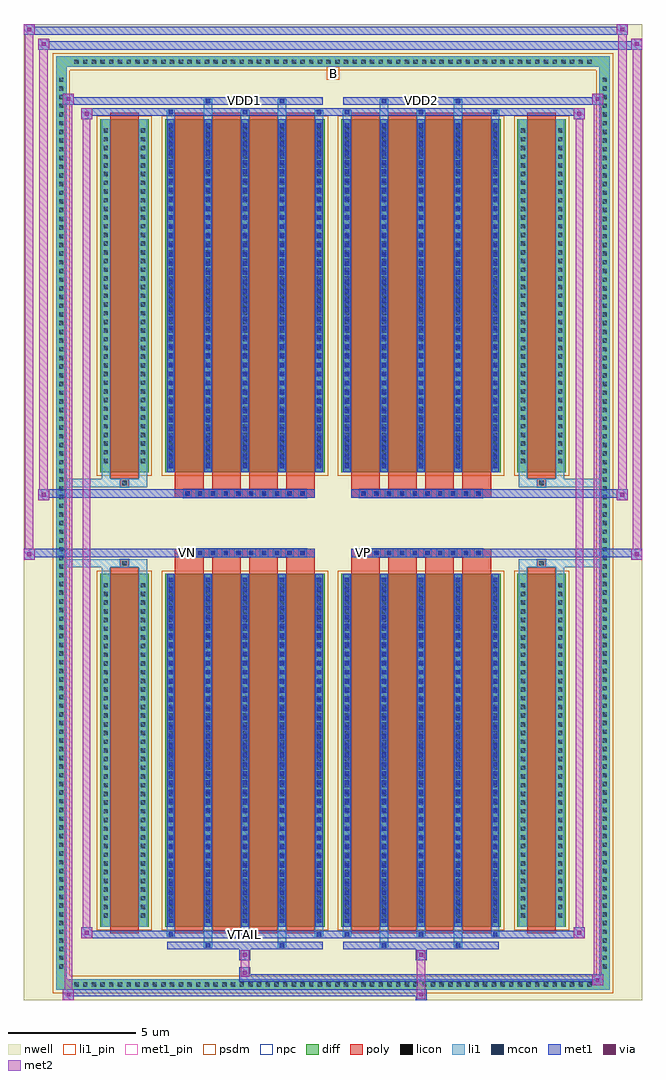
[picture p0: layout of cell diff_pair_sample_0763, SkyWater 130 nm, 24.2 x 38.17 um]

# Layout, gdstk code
import gdstk
lib = gdstk.Library(unit=1e-6, precision=5e-09)
def R(c, l, rs):  # rectangles x0, y0, x1, y1
    for r in rs: c.add(gdstk.rectangle(r[:2], r[2:], *l))
def A(c, l, x, y, w, h, nx, ny, dx, dy):  # array of equal rectangles
    R(c, l, [(x+i*dx, y+j*dy, x+i*dx+w, y+j*dy+h) for i in range(nx) for j in range(ny)])
def P(c, l, *ps):  # polygons
    for p in ps: c.add(gdstk.Polygon(p, *l))
nwell = (64, 20)
diff = (65, 20)
poly = (66, 20)
licon = (66, 44)
li1_pin = (67, 16)
li1 = (67, 20)
mcon = (67, 44)
met1_pin = (68, 16)
met1 = (68, 20)
via = (68, 44)
met2 = (69, 20)
psdm = (94, 20)
npc = (95, 20)

diff_pair_sample_0763 = lib.new_cell('diff_pair_sample_0763')
R(diff_pair_sample_0763, nwell, [(-12.1,-18.65,12.1,19.52), (-9.42,-16.84,-0.01,-0.8), (0.01,-16.84,9.42,-0.8), (-9.42,0.8,-0.01,16.84), (0.01,0.8,9.42,16.84)])
A(diff_pair_sample_0763, diff, -10.235, -18.25, 0.41, 0.41, 60, 2, 0.34, 36.09)
A(diff_pair_sample_0763, diff, -10.83, -17.545, 0.41, 0.41, 1, 103, 0, 0.34)
A(diff_pair_sample_0763, diff, 10.42, -17.545, 0.41, 0.41, 1, 103, 0, 0.34)
R(diff_pair_sample_0763, diff, [(-10.235,-18.25,10.235,-17.84), (-10.83,-17.545,-10.42,17.545), (10.42,-17.545,10.83,17.545), (-9.11,-15.795,-7.21,-1.985), (-6.57,-15.795,-0.32,-1.985), (0.32,-15.795,6.57,-1.985), (7.21,-15.795,9.11,-1.985), (-9.11,1.985,-7.21,15.795), (-6.57,1.985,-0.32,15.795), (0.32,1.985,6.57,15.795), (7.21,1.985,9.11,15.795), (-10.235,17.84,10.235,18.25)])
P(diff_pair_sample_0763, diff, [(10.83,18.25),(-10.83,18.25),(-10.83,-17.84),(-10.42,-17.84),(-10.42,17.84),(10.42,17.84),(10.42,-17.84),(-10.42,-17.84),(-10.83,-17.84),(-10.83,-18.25),(10.83,-18.25)])
A(diff_pair_sample_0763, poly, -6.18, -16.045, 1.12, 14.31, 4, 2, 1.45, 17.78)
A(diff_pair_sample_0763, poly, 0.71, -16.045, 1.12, 14.31, 4, 2, 1.45, 17.78)
A(diff_pair_sample_0763, poly, -6.18, -1.735, 1.12, 0.405, 4, 2, 1.45, 3.065)
A(diff_pair_sample_0763, poly, 0.71, -1.735, 1.12, 0.405, 4, 2, 1.45, 3.065)
A(diff_pair_sample_0763, poly, -5.86, -1.33, 0.33, 0.33, 10, 2, 0.5, 2.33)
A(diff_pair_sample_0763, poly, 1.03, -1.33, 0.33, 0.33, 10, 2, 0.5, 2.33)
R(diff_pair_sample_0763, poly, [(-8.72,-16.045,-7.6,-1.735), (7.6,-16.045,8.72,-1.735), (-8.325,-1.735,-7.995,-1.405), (-8.325,-1.735,-7.995,-1.405), (7.995,-1.735,8.325,-1.405), (7.995,-1.735,8.325,-1.405), (-6.18,-1.33,-0.71,-1), (0.71,-1.33,6.18,-1), (-6.18,1,-0.71,1.33), (0.71,1,6.18,1.33), (-8.325,1.405,-7.995,1.735), (-8.325,1.405,-7.995,1.735), (7.995,1.405,8.325,1.735), (7.995,1.405,8.325,1.735), (-8.72,1.735,-7.6,16.045), (7.6,1.735,8.72,16.045)])
A(diff_pair_sample_0763, licon, -10.115, -18.13, 0.17, 0.17, 60, 2, 0.34, 36.09)
A(diff_pair_sample_0763, licon, -10.71, -17.425, 0.17, 0.17, 1, 103, 0, 0.34)
A(diff_pair_sample_0763, licon, 10.54, -17.425, 0.17, 0.17, 1, 103, 0, 0.34)
A(diff_pair_sample_0763, licon, -8.97, -15.435, 0.17, 0.17, 1, 39, 0, 0.34)
A(diff_pair_sample_0763, licon, -7.52, -15.435, 0.17, 0.17, 1, 39, 0, 0.34)
A(diff_pair_sample_0763, licon, -6.43, -15.435, 0.17, 0.17, 5, 39, 1.45, 0.34)
A(diff_pair_sample_0763, licon, 0.46, -15.435, 0.17, 0.17, 5, 39, 1.45, 0.34)
A(diff_pair_sample_0763, licon, 7.35, -15.435, 0.17, 0.17, 1, 39, 0, 0.34)
A(diff_pair_sample_0763, licon, 8.8, -15.435, 0.17, 0.17, 1, 39, 0, 0.34)
A(diff_pair_sample_0763, licon, -5.78, -1.25, 0.17, 0.17, 10, 2, 0.5, 2.33)
A(diff_pair_sample_0763, licon, 1.11, -1.25, 0.17, 0.17, 10, 2, 0.5, 2.33)
A(diff_pair_sample_0763, licon, -8.97, 2.345, 0.17, 0.17, 1, 39, 0, 0.34)
A(diff_pair_sample_0763, licon, -7.52, 2.345, 0.17, 0.17, 1, 39, 0, 0.34)
A(diff_pair_sample_0763, licon, -6.43, 2.345, 0.17, 0.17, 5, 39, 1.45, 0.34)
A(diff_pair_sample_0763, licon, 0.46, 2.345, 0.17, 0.17, 5, 39, 1.45, 0.34)
A(diff_pair_sample_0763, licon, 7.35, 2.345, 0.17, 0.17, 1, 39, 0, 0.34)
A(diff_pair_sample_0763, licon, 8.8, 2.345, 0.17, 0.17, 1, 39, 0, 0.34)
R(diff_pair_sample_0763, licon, [(-8.245,-1.655,-8.075,-1.485), (8.075,-1.655,8.245,-1.485), (-8.245,1.485,-8.075,1.655), (8.075,1.485,8.245,1.655)])
R(diff_pair_sample_0763, li1_pin, [(-0.25,17.34,0.25,17.84)])
A(diff_pair_sample_0763, li1, -10.195, -18.21, 0.33, 0.33, 60, 2, 0.34, 36.09)
A(diff_pair_sample_0763, li1, -10.79, -17.505, 0.33, 0.33, 1, 103, 0, 0.34)
A(diff_pair_sample_0763, li1, 10.46, -17.505, 0.33, 0.33, 1, 103, 0, 0.34)
A(diff_pair_sample_0763, li1, -6.51, -16.17, 0.33, 0.375, 3, 2, 2.9, 31.965)
A(diff_pair_sample_0763, li1, -6.43, -16.17, 0.17, 0.17, 3, 2, 2.9, 32.17)
A(diff_pair_sample_0763, li1, 0.38, -16.17, 0.33, 0.375, 3, 2, 2.9, 31.965)
A(diff_pair_sample_0763, li1, 0.46, -16.17, 0.17, 0.17, 3, 2, 2.9, 32.17)
A(diff_pair_sample_0763, li1, -6.51, -15.795, 0.33, 13.81, 5, 2, 1.45, 17.78)
A(diff_pair_sample_0763, li1, 0.38, -15.795, 0.33, 13.81, 5, 2, 1.45, 17.78)
A(diff_pair_sample_0763, li1, -6.43, -15.635, 0.17, 0.17, 5, 38, 1.45, 0.36)
A(diff_pair_sample_0763, li1, -6.43, -15.635, 0.17, 13.49, 5, 2, 1.45, 17.78)
A(diff_pair_sample_0763, li1, 0.46, -15.635, 0.17, 0.17, 5, 38, 1.45, 0.36)
A(diff_pair_sample_0763, li1, 0.46, -15.635, 0.17, 13.49, 5, 2, 1.45, 17.78)
A(diff_pair_sample_0763, li1, -9.05, -15.515, 0.33, 0.33, 1, 39, 0, 0.34)
A(diff_pair_sample_0763, li1, -7.6, -15.515, 0.33, 0.33, 1, 39, 0, 0.34)
A(diff_pair_sample_0763, li1, -6.51, -15.515, 0.33, 0.33, 5, 39, 1.45, 0.34)
A(diff_pair_sample_0763, li1, 0.38, -15.515, 0.33, 0.33, 5, 39, 1.45, 0.34)
A(diff_pair_sample_0763, li1, 7.27, -15.515, 0.33, 0.33, 1, 39, 0, 0.34)
A(diff_pair_sample_0763, li1, 8.72, -15.515, 0.33, 0.33, 1, 39, 0, 0.34)
A(diff_pair_sample_0763, li1, -5.86, -1.33, 0.33, 0.33, 10, 2, 0.5, 2.33)
A(diff_pair_sample_0763, li1, 1.03, -1.33, 0.33, 0.33, 10, 2, 0.5, 2.33)
A(diff_pair_sample_0763, li1, -6.43, 2.145, 0.17, 0.17, 5, 38, 1.45, 0.36)
A(diff_pair_sample_0763, li1, 0.46, 2.145, 0.17, 0.17, 5, 38, 1.45, 0.36)
A(diff_pair_sample_0763, li1, -9.05, 2.265, 0.33, 0.33, 1, 39, 0, 0.34)
A(diff_pair_sample_0763, li1, -7.6, 2.265, 0.33, 0.33, 1, 39, 0, 0.34)
A(diff_pair_sample_0763, li1, -6.51, 2.265, 0.33, 0.33, 5, 39, 1.45, 0.34)
A(diff_pair_sample_0763, li1, 0.38, 2.265, 0.33, 0.33, 5, 39, 1.45, 0.34)
A(diff_pair_sample_0763, li1, 7.27, 2.265, 0.33, 0.33, 1, 39, 0, 0.34)
A(diff_pair_sample_0763, li1, 8.72, 2.265, 0.33, 0.33, 1, 39, 0, 0.34)
R(diff_pair_sample_0763, li1, [(-10.83,-18.25,-10.42,-17.84), (-10.83,-18.25,-10.42,-17.84), (-10.42,-18.25,10.42,-17.84), (10.42,-18.25,10.83,-17.84), (10.42,-18.25,10.83,-17.84), (-10.83,-17.84,-10.42,17.84), (10.42,-17.84,10.83,17.84), (-5.06,-16.6,-4.73,-15.795), (-4.98,-16.6,-4.81,-16.43), (-2.16,-16.6,-1.83,-15.795), (-2.08,-16.6,-1.91,-16.43), (1.83,-16.6,2.16,-15.795), (1.91,-16.6,2.08,-16.43), (4.73,-16.6,5.06,-15.795), (4.81,-16.6,4.98,-16.43), (-9.05,-15.795,-8.72,-1.985), (-7.6,-15.795,-7.27,-1.985), (7.27,-15.795,7.6,-1.985), (8.72,-15.795,9.05,-1.985), (-9.05,-1.985,-8.72,-1.405), (-7.6,-1.985,-7.27,-1.405), (7.27,-1.985,7.6,-1.405), (8.72,-1.985,9.05,-1.405), (-10.83,-1.735,-8.325,-1.405), (-9.05,-1.735,-8.325,-1.405), (-8.325,-1.735,-7.995,-1.405), (-7.995,-1.735,-7.27,-1.405), (7.27,-1.735,7.995,-1.405), (7.995,-1.735,8.325,-1.405), (7.995,-1.735,10.83,-1.405), (8.325,-1.735,9.05,-1.405), (-10.83,1.405,-8.325,1.735), (-9.05,1.405,-8.325,1.735), (-9.05,1.405,-8.72,1.985), (-8.325,1.405,-7.995,1.735), (-7.995,1.405,-7.27,1.735), (-7.6,1.405,-7.27,1.985), (7.27,1.405,7.995,1.735), (7.27,1.405,7.6,1.985), (7.995,1.405,8.325,1.735), (7.995,1.405,10.83,1.735), (8.325,1.405,9.05,1.735), (8.72,1.405,9.05,1.985), (-9.05,1.985,-8.72,15.795), (-7.6,1.985,-7.27,15.795), (7.27,1.985,7.6,15.795), (8.72,1.985,9.05,15.795), (-5.06,15.795,-4.73,16.6), (-2.16,15.795,-1.83,16.6), (1.83,15.795,2.16,16.6), (4.73,15.795,5.06,16.6), (-4.98,16.43,-4.81,16.6), (-2.08,16.43,-1.91,16.6), (1.91,16.43,2.08,16.6), (4.81,16.43,4.98,16.6), (-10.83,17.84,-10.42,18.25), (-10.83,17.84,-10.42,18.25), (-10.42,17.84,10.42,18.25), (10.42,17.84,10.83,18.25), (10.42,17.84,10.83,18.25)])
A(diff_pair_sample_0763, mcon, -6.43, -16.17, 0.17, 0.17, 3, 2, 2.9, 32.17)
A(diff_pair_sample_0763, mcon, 0.46, -16.17, 0.17, 0.17, 3, 2, 2.9, 32.17)
A(diff_pair_sample_0763, mcon, -6.43, -15.635, 0.17, 0.17, 5, 38, 1.45, 0.36)
A(diff_pair_sample_0763, mcon, 0.46, -15.635, 0.17, 0.17, 5, 38, 1.45, 0.36)
A(diff_pair_sample_0763, mcon, -5.78, -1.25, 0.17, 0.17, 10, 2, 0.5, 2.33)
A(diff_pair_sample_0763, mcon, 1.11, -1.25, 0.17, 0.17, 10, 2, 0.5, 2.33)
A(diff_pair_sample_0763, mcon, -6.43, 2.145, 0.17, 0.17, 5, 38, 1.45, 0.36)
A(diff_pair_sample_0763, mcon, 0.46, 2.145, 0.17, 0.17, 5, 38, 1.45, 0.36)
R(diff_pair_sample_0763, mcon, [(-4.98,-16.6,-4.81,-16.43), (-2.08,-16.6,-1.91,-16.43), (1.91,-16.6,2.08,-16.43), (4.81,-16.6,4.98,-16.43), (-4.98,16.43,-4.81,16.6), (-2.08,16.43,-1.91,16.6), (1.91,16.43,2.08,16.6), (4.81,16.43,4.98,16.6)])
R(diff_pair_sample_0763, met1_pin, [(-3.58,-16.21,-3.31,-15.94), (-5.83,-1.29,-5.56,-1.02), (1.06,-1.29,1.33,-1.02), (-3.58,16.39,-3.31,16.66), (3.31,16.39,3.58,16.66)])
A(diff_pair_sample_0763, met1, -6.49, -16.23, 0.29, 0.29, 3, 2, 2.9, 32.17)
A(diff_pair_sample_0763, met1, 0.4, -16.23, 0.29, 0.29, 3, 2, 2.9, 32.17)
A(diff_pair_sample_0763, met1, -6.49, -15.795, 0.29, 13.81, 5, 2, 1.45, 17.78)
A(diff_pair_sample_0763, met1, 0.4, -15.795, 0.29, 13.81, 5, 2, 1.45, 17.78)
A(diff_pair_sample_0763, met1, -6.49, -15.695, 0.29, 0.29, 5, 38, 1.45, 0.36)
A(diff_pair_sample_0763, met1, 0.4, -15.695, 0.29, 0.29, 5, 38, 1.45, 0.36)
A(diff_pair_sample_0763, met1, -5.84, -1.31, 0.29, 0.29, 10, 2, 0.5, 2.33)
A(diff_pair_sample_0763, met1, 1.05, -1.31, 0.29, 0.29, 10, 2, 0.5, 2.33)
A(diff_pair_sample_0763, met1, -6.49, 2.085, 0.29, 0.29, 5, 38, 1.45, 0.36)
A(diff_pair_sample_0763, met1, 0.4, 2.085, 0.29, 0.29, 5, 38, 1.45, 0.36)
R(diff_pair_sample_0763, met1, [(-10.56,-18.65,-10.13,-18.22), (3.23,-18.65,3.66,-18.22), (-10.56,-18.51,3.66,-18.22), (10.13,-18.08,10.56,-17.65), (-3.66,-17.94,10.56,-17.65), (-3.66,-17.8,-3.23,-17.37), (-3.66,-17.09,-3.23,-16.66), (3.23,-17.09,3.66,-16.66), (-6.49,-16.66,-0.4,-16.37), (-5.04,-16.66,-4.75,-16.37), (-2.14,-16.66,-1.85,-16.37), (0.4,-16.66,6.49,-16.37), (1.85,-16.66,2.14,-16.37), (4.75,-16.66,5.04,-16.37), (-9.85,-16.23,-9.42,-15.8), (-9.85,-16.23,-6.49,-15.94), (-6.49,-16.23,-0.4,-15.94), (-0.4,-16.23,0.4,-15.94), (0.4,-16.23,6.49,-15.94), (6.49,-16.23,9.85,-15.94), (9.42,-16.23,9.85,-15.8), (-12.1,-1.43,-11.67,-1), (11.67,-1.43,12.1,-1), (-12.1,-1.33,-0.71,-1), (-6.18,-1.33,-0.71,-1), (0.71,-1.33,6.18,-1), (0.71,-1.33,12.1,-1), (-11.53,0.9,-11.1,1.33), (11.1,0.9,11.53,1.33), (-11.53,1,-6.18,1.33), (-6.18,1,-0.71,1.33), (0.71,1,6.18,1.33), (6.18,1,11.53,1.33), (-9.85,15.8,-9.42,16.23), (9.42,15.8,9.85,16.23), (-9.85,15.94,-6.49,16.23), (-6.49,15.94,-0.4,16.23), (-0.4,15.94,0.4,16.23), (0.4,15.94,6.49,16.23), (6.49,15.94,9.85,16.23), (-10.56,16.37,-10.13,16.8), (-10.56,16.37,-6.49,16.66), (-6.49,16.37,-0.4,16.66), (-5.04,16.37,-4.75,16.66), (-2.14,16.37,-1.85,16.66), (0.4,16.37,6.49,16.66), (1.85,16.37,2.14,16.66), (4.75,16.37,5.04,16.66), (6.49,16.37,10.56,16.66), (10.13,16.37,10.56,16.8), (-11.53,18.52,-11.1,18.95), (-11.53,18.52,-9.42,18.85), (-9.42,18.52,9.42,18.85), (9.42,18.52,12.1,18.85), (11.67,18.52,12.1,18.95), (-12.1,19.09,-11.67,19.52), (-12.1,19.09,-9.42,19.42), (-9.42,19.09,9.42,19.42), (9.42,19.09,11.53,19.42), (11.1,19.09,11.53,19.52)])
R(diff_pair_sample_0763, via, [(-10.42,-18.51,-10.27,-18.36), (3.37,-18.51,3.52,-18.36), (10.27,-17.94,10.42,-17.79), (-3.52,-17.66,-3.37,-17.51), (-3.52,-16.95,-3.37,-16.8), (3.37,-16.95,3.52,-16.8), (-9.71,-16.09,-9.56,-15.94), (9.56,-16.09,9.71,-15.94), (-11.96,-1.29,-11.81,-1.14), (11.81,-1.29,11.96,-1.14), (-11.39,1.04,-11.24,1.19), (11.24,1.04,11.39,1.19), (-9.71,15.94,-9.56,16.09), (9.56,15.94,9.71,16.09), (-10.42,16.51,-10.27,16.66), (10.27,16.51,10.42,16.66), (-11.39,18.66,-11.24,18.81), (11.81,18.66,11.96,18.81), (-11.96,19.23,-11.81,19.38), (11.24,19.23,11.39,19.38)])
R(diff_pair_sample_0763, met2, [(-10.56,-18.65,-10.13,-18.22), (-10.49,-18.65,-10.2,16.8), (-10.2,-18.65,-10.13,-18.22), (-10.51,-18.6,-10.18,-18.27), (3.28,-18.6,3.61,-18.27), (3.28,-18.27,3.61,-17.04), (10.13,-18.08,10.56,-17.65), (10.2,-18.08,10.49,16.8), (10.49,-18.08,10.56,-17.65), (10.18,-18.03,10.51,-17.7), (-3.61,-17.75,-3.28,-17.42), (-3.61,-17.42,-3.28,-17.04), (-3.61,-17.04,-3.28,-16.71), (3.28,-17.04,3.61,-16.71), (-9.85,-16.23,-9.42,-15.8), (-9.78,-16.23,-9.49,16.23), (-9.49,-16.23,-9.42,-15.8), (9.42,-16.23,9.85,-15.8), (9.49,-16.23,9.78,16.23), (9.78,-16.23,9.85,-15.8), (-9.8,-16.18,-9.47,-15.85), (9.47,-16.18,9.8,-15.85), (-12.1,-1.43,-11.67,-1), (-12.05,-1.43,-11.72,19.52), (-11.72,-1.43,-11.67,-1), (11.67,-1.43,12.1,-1), (11.72,-1.43,12.05,18.95), (12.05,-1.43,12.1,-1), (-12.05,-1.38,-11.72,-1.05), (11.72,-1.38,12.05,-1.05), (-11.53,0.9,-11.1,1.33), (-11.48,0.9,-11.15,18.95), (-11.15,0.9,-11.1,1.33), (11.1,0.9,11.53,1.33), (11.15,0.9,11.48,19.52), (11.48,0.9,11.53,1.33), (-11.48,0.95,-11.15,1.28), (11.15,0.95,11.48,1.28), (-9.85,15.8,-9.42,16.23), (-9.49,15.8,-9.42,16.23), (9.42,15.8,9.85,16.23), (9.78,15.8,9.85,16.23), (-9.8,15.85,-9.47,16.18), (9.47,15.85,9.8,16.18), (-10.56,16.37,-10.13,16.8), (-10.2,16.37,-10.13,16.8), (10.13,16.37,10.56,16.8), (10.49,16.37,10.56,16.8), (-10.51,16.42,-10.18,16.75), (10.18,16.42,10.51,16.75), (-11.53,18.52,-11.1,18.95), (-11.15,18.52,-11.1,18.95), (11.67,18.52,12.1,18.95), (12.05,18.52,12.1,18.95), (-11.48,18.57,-11.15,18.9), (11.72,18.57,12.05,18.9), (-12.1,19.09,-11.67,19.52), (-11.72,19.09,-11.67,19.52), (11.1,19.09,11.53,19.52), (11.48,19.09,11.53,19.52), (-12.05,19.14,-11.72,19.47), (11.15,19.14,11.48,19.47)])
R(diff_pair_sample_0763, psdm, [(-9.24,-15.925,-7.08,-1.855), (-6.7,-15.925,-0.19,-1.855), (0.19,-15.925,6.7,-1.855), (7.08,-15.925,9.24,-1.855), (-9.24,1.855,-7.08,15.925), (-6.7,1.855,-0.19,15.925), (0.19,1.855,6.7,15.925), (7.08,1.855,9.24,15.925)])
P(diff_pair_sample_0763, psdm, [(10.96,18.38),(-10.96,18.38),(-10.96,-17.71),(-10.29,-17.71),(-10.29,17.71),(10.29,17.71),(10.29,-17.71),(-10.29,-17.71),(-10.96,-17.71),(-10.96,-18.38),(10.96,-18.38)])
A(diff_pair_sample_0763, npc, -5.88, -1.35, 0.37, 0.37, 10, 2, 0.5, 2.33)
A(diff_pair_sample_0763, npc, 1.01, -1.35, 0.37, 0.37, 10, 2, 0.5, 2.33)
R(diff_pair_sample_0763, npc, [(-8.345,-1.755,-7.975,-1.385), (7.975,-1.755,8.345,-1.385), (-5.88,-1.35,-5.01,-0.98), (-5.88,-1.35,-5.01,-0.98), (-5.38,-1.35,-4.51,-0.98), (-5.38,-1.35,-4.51,-0.98), (-4.88,-1.35,-4.01,-0.98), (-4.88,-1.35,-4.01,-0.98), (-4.38,-1.35,-3.51,-0.98), (-4.38,-1.35,-3.51,-0.98), (-3.88,-1.35,-3.01,-0.98), (-3.88,-1.35,-3.01,-0.98), (-3.38,-1.35,-2.51,-0.98), (-3.38,-1.35,-2.51,-0.98), (-2.88,-1.35,-2.01,-0.98), (-2.88,-1.35,-2.01,-0.98), (-2.38,-1.35,-1.51,-0.98), (-2.38,-1.35,-1.51,-0.98), (-1.88,-1.35,-1.01,-0.98), (-1.88,-1.35,-1.01,-0.98), (1.01,-1.35,1.88,-0.98), (1.01,-1.35,1.88,-0.98), (1.51,-1.35,2.38,-0.98), (1.51,-1.35,2.38,-0.98), (2.01,-1.35,2.88,-0.98), (2.01,-1.35,2.88,-0.98), (2.51,-1.35,3.38,-0.98), (2.51,-1.35,3.38,-0.98), (3.01,-1.35,3.88,-0.98), (3.01,-1.35,3.88,-0.98), (3.51,-1.35,4.38,-0.98), (3.51,-1.35,4.38,-0.98), (4.01,-1.35,4.88,-0.98), (4.01,-1.35,4.88,-0.98), (4.51,-1.35,5.38,-0.98), (4.51,-1.35,5.38,-0.98), (5.01,-1.35,5.88,-0.98), (5.01,-1.35,5.88,-0.98), (-5.88,0.98,-5.01,1.35), (-5.88,0.98,-5.01,1.35), (-5.38,0.98,-4.51,1.35), (-5.38,0.98,-4.51,1.35), (-4.88,0.98,-4.01,1.35), (-4.88,0.98,-4.01,1.35), (-4.38,0.98,-3.51,1.35), (-4.38,0.98,-3.51,1.35), (-3.88,0.98,-3.01,1.35), (-3.88,0.98,-3.01,1.35), (-3.38,0.98,-2.51,1.35), (-3.38,0.98,-2.51,1.35), (-2.88,0.98,-2.01,1.35), (-2.88,0.98,-2.01,1.35), (-2.38,0.98,-1.51,1.35), (-2.38,0.98,-1.51,1.35), (-1.88,0.98,-1.01,1.35), (-1.88,0.98,-1.01,1.35), (1.01,0.98,1.88,1.35), (1.01,0.98,1.88,1.35), (1.51,0.98,2.38,1.35), (1.51,0.98,2.38,1.35), (2.01,0.98,2.88,1.35), (2.01,0.98,2.88,1.35), (2.51,0.98,3.38,1.35), (2.51,0.98,3.38,1.35), (3.01,0.98,3.88,1.35), (3.01,0.98,3.88,1.35), (3.51,0.98,4.38,1.35), (3.51,0.98,4.38,1.35), (4.01,0.98,4.88,1.35), (4.01,0.98,4.88,1.35), (4.51,0.98,5.38,1.35), (4.51,0.98,5.38,1.35), (5.01,0.98,5.88,1.35), (5.01,0.98,5.88,1.35), (-8.345,1.385,-7.975,1.755), (7.975,1.385,8.345,1.755)])
diff_pair_sample_0763.add(gdstk.Label('VTAIL', (-3.445,-16.075), layer=68, texttype=5))
diff_pair_sample_0763.add(gdstk.Label('VN', (-5.695,-1.155), layer=68, texttype=5))
diff_pair_sample_0763.add(gdstk.Label('VP', (1.195,-1.155), layer=68, texttype=5))
diff_pair_sample_0763.add(gdstk.Label('B', (0,17.59), layer=67, texttype=5))
diff_pair_sample_0763.add(gdstk.Label('VDD2', (3.445,16.525), layer=68, texttype=5))
diff_pair_sample_0763.add(gdstk.Label('VDD1', (-3.445,16.525), layer=68, texttype=5))

lib.write_gds('diff_pair_sample_0763.gds')
